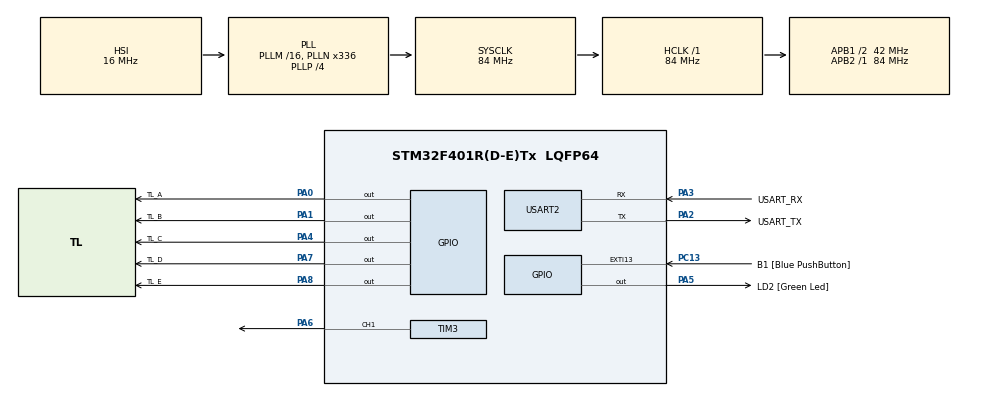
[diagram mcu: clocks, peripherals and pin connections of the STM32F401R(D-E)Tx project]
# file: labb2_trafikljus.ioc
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Mcu.Family=STM32F4
Mcu.Name=STM32F401R(D-E)Tx
Mcu.Package=LQFP64
NVIC.EXTI15_10_IRQn=true\:0\:0\:false\:false\:true\:true\:true\:true
NVIC.PriorityGroup=NVIC_PRIORITYGROUP_0
PA0-WKUP.GPIO_Label=TL_A
PA0-WKUP.Signal=GPIO_Output
PA1.GPIO_Label=TL_B
PA1.Signal=GPIO_Output
PA13.GPIO_Label=TMS
PA13.Mode=Serial_Wire
PA13.Signal=SYS_JTMS-SWDIO
PA14.GPIO_Label=TCK
PA14.Mode=Serial_Wire
PA14.Signal=SYS_JTCK-SWCLK
PA2.GPIO_Label=USART_TX
PA2.GPIO_Mode=GPIO_MODE_AF_PP
PA2.GPIO_PuPd=GPIO_NOPULL
PA2.GPIO_Speed=GPIO_SPEED_FREQ_LOW
PA2.Mode=Asynchronous
PA2.Signal=USART2_TX
PA3.GPIO_Label=USART_RX
PA3.GPIO_Mode=GPIO_MODE_AF_PP
PA3.GPIO_PuPd=GPIO_NOPULL
PA3.GPIO_Speed=GPIO_SPEED_FREQ_LOW
PA3.Mode=Asynchronous
PA3.Signal=USART2_RX
PA4.GPIO_Label=TL_C
PA4.Signal=GPIO_Output
PA5.GPIO_Label=LD2 [Green Led]
PA5.GPIO_Mode=GPIO_MODE_OUTPUT_PP
PA5.GPIO_PuPd=GPIO_NOPULL
PA5.GPIO_Speed=GPIO_SPEED_FREQ_LOW
PA5.Signal=GPIO_Output
PA6.Signal=S_TIM3_CH1
PA7.GPIO_Label=TL_D
PA7.Signal=GPIO_Output
PA8.GPIO_Label=TL_E
PA8.Signal=GPIO_Output
PB3.GPIO_Label=SWO
PB3.Signal=SYS_JTDO-SWO
PC13-ANTI_TAMP.GPIO_Label=B1 [Blue PushButton]
PC13-ANTI_TAMP.GPIO_ModeDefaultEXTI=GPIO_MODE_IT_FALLING
PC13-ANTI_TAMP.GPIO_PuPd=GPIO_NOPULL
PC13-ANTI_TAMP.Signal=GPXTI13
PC14-OSC32_IN.Mode=LSE-External-Oscillator
PC14-OSC32_IN.Signal=RCC_OSC32_IN
PC15-OSC32_OUT.Mode=LSE-External-Oscillator
PC15-OSC32_OUT.Signal=RCC_OSC32_OUT
PH0\ -\ OSC_IN.Mode=HSE-External-Clock-Source
PH0\ -\ OSC_IN.Signal=RCC_OSC_IN
PH1\ -\ OSC_OUT.Mode=HSE-External-Clock-Source
PH1\ -\ OSC_OUT.Signal=RCC_OSC_OUT
ProjectManager.HeapSize=0x200
ProjectManager.StackSize=0x400
ProjectManager.TargetToolchain=STM32CubeIDE
RCC.48MHZClocksFreq_Value=48000000
RCC.AHBFreq_Value=84000000
RCC.APB1CLKDivider=RCC_HCLK_DIV2
RCC.APB1Freq_Value=42000000
RCC.APB1TimFreq_Value=84000000
RCC.APB2Freq_Value=84000000
RCC.APB2TimFreq_Value=84000000
RCC.CortexFreq_Value=84000000
RCC.HCLKFreq_Value=84000000
RCC.HSE_VALUE=8000000
RCC.HSI_VALUE=16000000
RCC.PLLN=336
RCC.PLLP=RCC_PLLP_DIV4
RCC.PLLQ=7
RCC.SYSCLKFreq_VALUE=84000000
RCC.SYSCLKSource=RCC_SYSCLKSOURCE_PLLCLK
RCC.VCOOutputFreq_Value=336000000
SH.S_TIM3_CH1.0=TIM3_CH1,PWM Generation1 CH1
TIM3.Channel-PWM\ Generation1\ CH1=TIM_CHANNEL_1
USART2.VirtualMode=VM_ASYNC
VP_TIM3_VS_ClockSourceINT.Mode=Internal
board=NUCLEO-F401RE

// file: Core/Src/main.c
/* USER CODE BEGIN Header */
/**
  ******************************************************************************
  * @file           : main.c
  * @brief          : Main program body
  ******************************************************************************
  * @attention
  *
  * Copyright (c) 2023 STMicroelectronics.
  * All rights reserved.
  *
  * This software is licensed under terms that can be found in the LICENSE file
  * in the root directory of this software component.
  * If no LICENSE file comes with this software, it is provided AS-IS.
  *
  ******************************************************************************
  */
/* USER CODE END Header */
#include "main.h"

/* USER CODE BEGIN Includes */
#include "abuzz.h"
/* USER CODE END Includes */

TIM_HandleTypeDef htim3;

UART_HandleTypeDef huart2;

/* USER CODE BEGIN PV */
int systick_count=0;
uint32_t tick_left_in_state =0;
/* USER CODE END PV */

void SystemClock_Config(void);
static void MX_GPIO_Init(void);
static void MX_USART2_UART_Init(void);
static void MX_TIM3_Init(void);

/* USER CODE BEGIN 0 */

#define EVQ_SIZE 10

enum event evq[ EVQ_SIZE ];
int evq_count = 0;
int evq_front_ix = 0;
int evq_rear_ix = 0;

void evq_push_back(enum event e)
{
// if queue is full, ignore e
	if ( evq_count < EVQ_SIZE )
	{
		evq[evq_rear_ix] = e;
		evq_rear_ix++;
		evq_rear_ix %= EVQ_SIZE;
		evq_count++;
	}
}
enum event evq_pop_front()
{
	enum event e = ev_none;
	if ( evq_count > 0 )
	  {
		e = evq[evq_front_ix];
		evq[evq_front_ix] = ev_error; // detect stupidity
		evq_front_ix++;
		evq_front_ix %= EVQ_SIZE;
		evq_count--;
	  }
return e;
}

int is_blue_butten_pressed();

void set_traffic_lights( enum state st){

	switch(st){
		case s_init:
			HAL_GPIO_WritePin(TL_A_GPIO_Port, TL_A_Pin, GPIO_PIN_SET);
			HAL_GPIO_WritePin(TL_B_GPIO_Port, TL_B_Pin, GPIO_PIN_SET);
			HAL_GPIO_WritePin(TL_C_GPIO_Port, TL_C_Pin, GPIO_PIN_SET);
			HAL_GPIO_WritePin(TL_D_GPIO_Port, TL_D_Pin, GPIO_PIN_SET);
			HAL_GPIO_WritePin(TL_E_GPIO_Port, TL_E_Pin, GPIO_PIN_SET);
			break;
		case s_both_stop:

			HAL_GPIO_WritePin(TL_A_GPIO_Port, TL_A_Pin, GPIO_PIN_SET);
			HAL_GPIO_WritePin(TL_B_GPIO_Port, TL_B_Pin, GPIO_PIN_RESET);
			HAL_GPIO_WritePin(TL_C_GPIO_Port, TL_C_Pin, GPIO_PIN_RESET);
			HAL_GPIO_WritePin(TL_D_GPIO_Port, TL_D_Pin, GPIO_PIN_SET);
			HAL_GPIO_WritePin(TL_E_GPIO_Port, TL_E_Pin, GPIO_PIN_RESET);
			break;
		case  s_gande_go:
			HAL_GPIO_WritePin(TL_A_GPIO_Port, TL_A_Pin, GPIO_PIN_SET);
			HAL_GPIO_WritePin(TL_B_GPIO_Port, TL_B_Pin, GPIO_PIN_RESET);
			HAL_GPIO_WritePin(TL_C_GPIO_Port, TL_C_Pin, GPIO_PIN_RESET);
			HAL_GPIO_WritePin(TL_D_GPIO_Port, TL_D_Pin, GPIO_PIN_RESET);
			HAL_GPIO_WritePin(TL_E_GPIO_Port, TL_E_Pin, GPIO_PIN_SET);
			break;
		case sp_both_read:
			HAL_GPIO_WritePin(TL_A_GPIO_Port, TL_A_Pin, GPIO_PIN_SET);
			HAL_GPIO_WritePin(TL_B_GPIO_Port, TL_B_Pin, GPIO_PIN_RESET);
			HAL_GPIO_WritePin(TL_C_GPIO_Port, TL_C_Pin, GPIO_PIN_RESET);
			HAL_GPIO_WritePin(TL_D_GPIO_Port, TL_D_Pin, GPIO_PIN_SET);
			HAL_GPIO_WritePin(TL_E_GPIO_Port, TL_E_Pin, GPIO_PIN_RESET);
			break;
		case s_car_ready:
			HAL_GPIO_WritePin(TL_A_GPIO_Port, TL_A_Pin, GPIO_PIN_SET);
			HAL_GPIO_WritePin(TL_B_GPIO_Port, TL_B_Pin, GPIO_PIN_SET);
			HAL_GPIO_WritePin(TL_C_GPIO_Port, TL_C_Pin, GPIO_PIN_RESET);
			HAL_GPIO_WritePin(TL_D_GPIO_Port, TL_D_Pin, GPIO_PIN_SET);
			HAL_GPIO_WritePin(TL_E_GPIO_Port, TL_E_Pin, GPIO_PIN_RESET);
			break;
		case s_car_go:
			HAL_GPIO_WritePin(TL_A_GPIO_Port, TL_A_Pin, GPIO_PIN_RESET);
			HAL_GPIO_WritePin(TL_B_GPIO_Port, TL_B_Pin, GPIO_PIN_RESET);
			HAL_GPIO_WritePin(TL_C_GPIO_Port, TL_C_Pin, GPIO_PIN_SET);
			HAL_GPIO_WritePin(TL_D_GPIO_Port, TL_D_Pin, GPIO_PIN_SET);
			HAL_GPIO_WritePin(TL_E_GPIO_Port, TL_E_Pin, GPIO_PIN_RESET);
			break;
		case s_pushed_wait:
			HAL_GPIO_WritePin(TL_A_GPIO_Port, TL_A_Pin, GPIO_PIN_RESET);
			HAL_GPIO_WritePin(TL_B_GPIO_Port, TL_B_Pin, GPIO_PIN_RESET);
			HAL_GPIO_WritePin(TL_C_GPIO_Port, TL_C_Pin, GPIO_PIN_SET);
			HAL_GPIO_WritePin(TL_D_GPIO_Port, TL_D_Pin, GPIO_PIN_SET);
			HAL_GPIO_WritePin(TL_E_GPIO_Port, TL_E_Pin, GPIO_PIN_RESET);
			break;
		case s_car_stopping:

			HAL_GPIO_WritePin(TL_A_GPIO_Port, TL_A_Pin, GPIO_PIN_RESET);
			HAL_GPIO_WritePin(TL_B_GPIO_Port, TL_B_Pin, GPIO_PIN_SET);
			HAL_GPIO_WritePin(TL_C_GPIO_Port, TL_C_Pin, GPIO_PIN_RESET);
			HAL_GPIO_WritePin(TL_D_GPIO_Port, TL_D_Pin, GPIO_PIN_SET);
			HAL_GPIO_WritePin(TL_E_GPIO_Port, TL_E_Pin, GPIO_PIN_RESET);
			break;
		default:
			break;

	}
}

int is_blue_butten_pressed()
{

	if(GPIOC->IDR & (1 << 13)){
		return 0;
	}
	else{
	   return 1;
	}
}

void evq_init()
{
	for(int i = 0; i < EVQ_SIZE; i++)
	{
		evq[i] = ev_error;
	}
}

void HAL_GPIO_EXTI_Callback( uint16_t GPIO_Pin )
{
	if(GPIO_Pin == B1_Pin)
	{
		evq_push_back(ev_button_push);
	}

}

void my_systick_handler() {

	if(tick_left_in_state > 0){
		tick_left_in_state--;
		if(tick_left_in_state == 0){
			//ev = ev_state_timeout;
			evq_push_back(ev_state_timeout);
		}
	}
}

/* USER CODE END 0 */

int main(void)
{

  /* MCU Configuration--------------------------------------------------------*/

  /* Reset of all peripherals, Initializes the Flash interface and the Systick. */
  HAL_Init();

  /* Configure the system clock */
  SystemClock_Config();

  /* Initialize all configured peripherals */
  MX_GPIO_Init();
  MX_USART2_UART_Init();
  MX_TIM3_Init();
  /* USER CODE BEGIN 2 */
  HAL_TIM_PWM_Start(&htim3, TIM_CHANNEL_1);
  abuzz_start();
  abuzz_p_long();

  enum state st = s_init;
  enum event ev = ev_none;

 uint32_t curr_tick = 0;
 uint32_t last_tick = 0;
 int last_button_press = 0;

  evq_init();

  /* USER CODE END 2 */

  /* Infinite loop */
  /* USER CODE BEGIN WHILE */
	// set_traffic_lights(st);
  while (1)
  {

/*
	 int curr_button_press = is_blue_butten_pressed();
	  //last_tick = curr_tick;

	  if (curr_button_press && ! last_button_press){
		  //ev = ev_button_push;
		   evq_push_back(ev_button_push);
	  }

	  last_button_press = curr_button_press;

	 //evq_push_back(ev_button_push);

	 //void HAL_GPIO_EXTI_Callback( uint16_t GPIO_Pin );

	 curr_tick = HAL_GetTick();

	 if (curr_tick != last_tick){
		 if(tick_left_in_state > 0){
			 tick_left_in_state--;
			 if(tick_left_in_state == 0){
				 //ev = ev_state_timeout;
				 evq_push_back(ev_state_timeout);
			 }
		 }
		 //last_tick = curr_tick;
		 last_tick = curr_tick;

	 }
*/
	  ev = evq_pop_front();

	  switch(st){
	  		case s_init:
	  			set_traffic_lights(st);
				if(ev == ev_button_push){
					ev = ev_none;
					tick_left_in_state = 1000;
					st = s_both_stop;
					set_traffic_lights(st);
				}
				break;
	  		case s_both_stop:
	  			if(ev == ev_state_timeout){
	  			ev = ev_none;
	  			st =s_gande_go;
	  			tick_left_in_state = 2000;
				set_traffic_lights(st);
	  			}
	  			break;
	  		case s_gande_go:
	  			if(ev == ev_state_timeout){
	  			 ev = ev_none;
	  			st= sp_both_read;
	  			tick_left_in_state = 1000;
				set_traffic_lights(st);
	  			}
	  			break;
	  		case sp_both_read:
	  			if(ev == ev_state_timeout){
	  				ev = ev_none;
					st = s_car_ready;
		  			tick_left_in_state = 1000;
					set_traffic_lights(st);
	  			}
	  			break;
	  		case s_car_ready:
	  			if(ev == ev_state_timeout){
					ev = ev_none;
					st = s_car_go;
		  			tick_left_in_state = 2000;
					set_traffic_lights(st);
	  			}
	  			break;
			case s_car_go:
	  			if(ev == ev_button_push){
					ev = ev_none;
					st = s_pushed_wait;
					tick_left_in_state = 1000;
					set_traffic_lights(st);
	  			}
				break;
			case s_pushed_wait:
				if(ev == ev_state_timeout){
					ev = ev_none;
					st = s_car_stopping;
					tick_left_in_state = 1000;
					set_traffic_lights(st);
				}
				break;
			case s_car_stopping:
				if(ev == ev_state_timeout){
					ev = ev_none;
					st = s_both_stop;
					tick_left_in_state = 1000;
					set_traffic_lights(st);
				}
				break;
			default:
				break;

	  }

    /* USER CODE END WHILE */

  }
}

void SystemClock_Config(void)
{
  RCC_OscInitTypeDef RCC_OscInitStruct = {0};
  RCC_ClkInitTypeDef RCC_ClkInitStruct = {0};

  /** Configure the main internal regulator output voltage
  */
  __HAL_RCC_PWR_CLK_ENABLE();
  __HAL_PWR_VOLTAGESCALING_CONFIG(PWR_REGULATOR_VOLTAGE_SCALE2);

  /** Initializes the RCC Oscillators according to the specified parameters
  * in the RCC_OscInitTypeDef structure.
  */
  RCC_OscInitStruct.OscillatorType = RCC_OSCILLATORTYPE_HSI;
  RCC_OscInitStruct.HSIState = RCC_HSI_ON;
  RCC_OscInitStruct.HSICalibrationValue = RCC_HSICALIBRATION_DEFAULT;
  RCC_OscInitStruct.PLL.PLLState = RCC_PLL_ON;
  RCC_OscInitStruct.PLL.PLLSource = RCC_PLLSOURCE_HSI;
  RCC_OscInitStruct.PLL.PLLM = 16;
  RCC_OscInitStruct.PLL.PLLN = 336;
  RCC_OscInitStruct.PLL.PLLP = RCC_PLLP_DIV4;
  RCC_OscInitStruct.PLL.PLLQ = 7;
  if (HAL_RCC_OscConfig(&RCC_OscInitStruct) != HAL_OK)
  {
    Error_Handler();
  }

  /** Initializes the CPU, AHB and APB buses clocks
  */
  RCC_ClkInitStruct.ClockType = RCC_CLOCKTYPE_HCLK|RCC_CLOCKTYPE_SYSCLK
                              |RCC_CLOCKTYPE_PCLK1|RCC_CLOCKTYPE_PCLK2;
  RCC_ClkInitStruct.SYSCLKSource = RCC_SYSCLKSOURCE_PLLCLK;
  RCC_ClkInitStruct.AHBCLKDivider = RCC_SYSCLK_DIV1;
  RCC_ClkInitStruct.APB1CLKDivider = RCC_HCLK_DIV2;
  RCC_ClkInitStruct.APB2CLKDivider = RCC_HCLK_DIV1;

  if (HAL_RCC_ClockConfig(&RCC_ClkInitStruct, FLASH_LATENCY_2) != HAL_OK)
  {
    Error_Handler();
  }
}

static void MX_TIM3_Init(void)
{

  TIM_ClockConfigTypeDef sClockSourceConfig = {0};
  TIM_MasterConfigTypeDef sMasterConfig = {0};
  TIM_OC_InitTypeDef sConfigOC = {0};

  htim3.Instance = TIM3;
  htim3.Init.Prescaler = 0;
  htim3.Init.CounterMode = TIM_COUNTERMODE_UP;
  htim3.Init.Period = 65535;
  htim3.Init.ClockDivision = TIM_CLOCKDIVISION_DIV1;
  htim3.Init.AutoReloadPreload = TIM_AUTORELOAD_PRELOAD_DISABLE;
  if (HAL_TIM_Base_Init(&htim3) != HAL_OK)
  {
    Error_Handler();
  }
  sClockSourceConfig.ClockSource = TIM_CLOCKSOURCE_INTERNAL;
  if (HAL_TIM_ConfigClockSource(&htim3, &sClockSourceConfig) != HAL_OK)
  {
    Error_Handler();
  }
  if (HAL_TIM_PWM_Init(&htim3) != HAL_OK)
  {
    Error_Handler();
  }
  sMasterConfig.MasterOutputTrigger = TIM_TRGO_RESET;
  sMasterConfig.MasterSlaveMode = TIM_MASTERSLAVEMODE_DISABLE;
  if (HAL_TIMEx_MasterConfigSynchronization(&htim3, &sMasterConfig) != HAL_OK)
  {
    Error_Handler();
  }
  sConfigOC.OCMode = TIM_OCMODE_PWM1;
  sConfigOC.Pulse = 0;
  sConfigOC.OCPolarity = TIM_OCPOLARITY_HIGH;
  sConfigOC.OCFastMode = TIM_OCFAST_DISABLE;
  if (HAL_TIM_PWM_ConfigChannel(&htim3, &sConfigOC, TIM_CHANNEL_1) != HAL_OK)
  {
    Error_Handler();
  }
  HAL_TIM_MspPostInit(&htim3);

}

static void MX_USART2_UART_Init(void)
{

  huart2.Instance = USART2;
  huart2.Init.BaudRate = 115200;
  huart2.Init.WordLength = UART_WORDLENGTH_8B;
  huart2.Init.StopBits = UART_STOPBITS_1;
  huart2.Init.Parity = UART_PARITY_NONE;
  huart2.Init.Mode = UART_MODE_TX_RX;
  huart2.Init.HwFlowCtl = UART_HWCONTROL_NONE;
  huart2.Init.OverSampling = UART_OVERSAMPLING_16;
  if (HAL_UART_Init(&huart2) != HAL_OK)
  {
    Error_Handler();
  }

}

static void MX_GPIO_Init(void)
{
  GPIO_InitTypeDef GPIO_InitStruct = {0};

  /* GPIO Ports Clock Enable */
  __HAL_RCC_GPIOC_CLK_ENABLE();
  __HAL_RCC_GPIOH_CLK_ENABLE();
  __HAL_RCC_GPIOA_CLK_ENABLE();
  __HAL_RCC_GPIOB_CLK_ENABLE();

  /*Configure GPIO pin Output Level */
  HAL_GPIO_WritePin(GPIOA, TL_A_Pin|TL_B_Pin|TL_C_Pin|LD2_Pin
                          |TL_D_Pin|TL_E_Pin, GPIO_PIN_RESET);

  /*Configure GPIO pin : B1_Pin */
  GPIO_InitStruct.Pin = B1_Pin;
  GPIO_InitStruct.Mode = GPIO_MODE_IT_FALLING;
  GPIO_InitStruct.Pull = GPIO_NOPULL;
  HAL_GPIO_Init(B1_GPIO_Port, &GPIO_InitStruct);

  /*Configure GPIO pins : TL_A_Pin TL_B_Pin TL_C_Pin LD2_Pin
                           TL_D_Pin TL_E_Pin */
  GPIO_InitStruct.Pin = TL_A_Pin|TL_B_Pin|TL_C_Pin|LD2_Pin
                          |TL_D_Pin|TL_E_Pin;
  GPIO_InitStruct.Mode = GPIO_MODE_OUTPUT_PP;
  GPIO_InitStruct.Pull = GPIO_NOPULL;
  GPIO_InitStruct.Speed = GPIO_SPEED_FREQ_LOW;
  HAL_GPIO_Init(GPIOA, &GPIO_InitStruct);

  /* EXTI interrupt init*/
  HAL_NVIC_SetPriority(EXTI15_10_IRQn, 0, 0);
  HAL_NVIC_EnableIRQ(EXTI15_10_IRQn);

}

void Error_Handler(void)
{
  __disable_irq();
  while (1)
  {
  }
}
